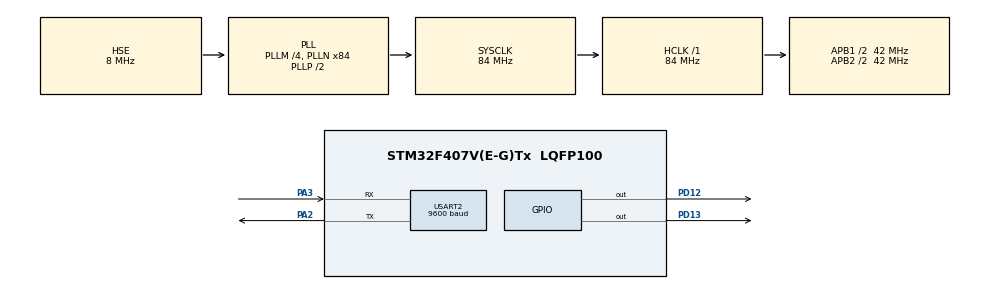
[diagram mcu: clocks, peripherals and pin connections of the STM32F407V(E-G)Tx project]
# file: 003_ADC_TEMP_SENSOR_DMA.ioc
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ADC1.Channel-3\#ChannelRegularConversion=ADC_CHANNEL_TEMPSENSOR
ADC1.Channel-4\#ChannelRegularConversion=ADC_CHANNEL_TEMPSENSOR
ADC1.Channel-5\#ChannelRegularConversion=ADC_CHANNEL_TEMPSENSOR
ADC1.ClockPrescaler=ADC_CLOCK_SYNC_PCLK_DIV8
ADC1.ContinuousConvMode=ENABLE
ADC1.DMAContinuousRequests=ENABLE
ADC1.EOCSelection=ADC_EOC_SINGLE_CONV
ADC1.InjNumberOfConversion=0
ADC1.NbrOfConversion=3
ADC1.NbrOfConversionFlag=1
ADC1.Rank-3\#ChannelRegularConversion=1
ADC1.Rank-4\#ChannelRegularConversion=2
ADC1.Rank-5\#ChannelRegularConversion=3
ADC1.SamplingTime-3\#ChannelRegularConversion=ADC_SAMPLETIME_480CYCLES
ADC1.SamplingTime-4\#ChannelRegularConversion=ADC_SAMPLETIME_480CYCLES
ADC1.SamplingTime-5\#ChannelRegularConversion=ADC_SAMPLETIME_480CYCLES
ADC1.ScanConvMode=ENABLE
ADC1.master=1
Dma.ADC1.0.Direction=DMA_PERIPH_TO_MEMORY
Dma.ADC1.0.FIFOMode=DMA_FIFOMODE_DISABLE
Dma.ADC1.0.Instance=DMA2_Stream0
Dma.ADC1.0.MemDataAlignment=DMA_MDATAALIGN_HALFWORD
Dma.ADC1.0.MemInc=DMA_MINC_ENABLE
Dma.ADC1.0.Mode=DMA_CIRCULAR
Dma.ADC1.0.PeriphDataAlignment=DMA_PDATAALIGN_HALFWORD
Dma.ADC1.0.PeriphInc=DMA_PINC_DISABLE
Dma.ADC1.0.Priority=DMA_PRIORITY_LOW
Dma.Request0=ADC1
Mcu.Family=STM32F4
Mcu.Name=STM32F407V(E-G)Tx
Mcu.Package=LQFP100
NVIC.DMA2_Stream0_IRQn=true\:0\:0\:false\:false\:true\:false\:true\:true
NVIC.PriorityGroup=NVIC_PRIORITYGROUP_0
PA2.Mode=Asynchronous
PA2.Signal=USART2_TX
PA3.Mode=Asynchronous
PA3.Signal=USART2_RX
PD12.Signal=GPIO_Output
PD13.Signal=GPIO_Output
PH0-OSC_IN.Mode=HSE-External-Oscillator
PH0-OSC_IN.Signal=RCC_OSC_IN
PH1-OSC_OUT.Mode=HSE-External-Oscillator
PH1-OSC_OUT.Signal=RCC_OSC_OUT
ProjectManager.HeapSize=0x200
ProjectManager.StackSize=0x400
ProjectManager.TargetToolchain=STM32CubeIDE
RCC.48MHZClocksFreq_Value=24000000
RCC.AHBFreq_Value=84000000
RCC.APB1CLKDivider=RCC_HCLK_DIV2
RCC.APB1Freq_Value=42000000
RCC.APB1TimFreq_Value=84000000
RCC.APB2CLKDivider=RCC_HCLK_DIV2
RCC.APB2Freq_Value=42000000
RCC.APB2TimFreq_Value=84000000
RCC.CortexFreq_Value=84000000
RCC.HCLKFreq_Value=84000000
RCC.HSE_VALUE=8000000
RCC.HSI_VALUE=16000000
RCC.LSE_VALUE=32768
RCC.PLLM=4
RCC.PLLN=84
RCC.PLLQ=7
RCC.PLLSourceVirtual=RCC_PLLSOURCE_HSE
RCC.SYSCLKFreq_VALUE=84000000
RCC.SYSCLKSource=RCC_SYSCLKSOURCE_PLLCLK
RCC.VCOOutputFreq_Value=168000000
USART2.BaudRate=9600
USART2.VirtualMode=VM_ASYNC
VP_ADC1_TempSens_Input.Mode=IN-TempSens
board=STM32F407G-DISC1

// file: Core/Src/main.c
/* USER CODE BEGIN Header */
/**
  ******************************************************************************
  * @file           : main.c
  * @brief          : Main program body
  ******************************************************************************
  * @attention
  *
  * Copyright (c) 2021 STMicroelectronics.
  * All rights reserved.
  *
  * This software is licensed under terms that can be found in the LICENSE file
  * in the root directory of this software component.
  * If no LICENSE file comes with this software, it is provided AS-IS.
  *
  ******************************************************************************
  */
/* USER CODE END Header */
#include "main.h"

/* USER CODE BEGIN Includes */
#include <stdio.h>
#include <string.h>
#include <stdlib.h>
/* USER CODE END Includes */

ADC_HandleTypeDef hadc1;
DMA_HandleTypeDef hdma_adc1;

UART_HandleTypeDef huart2;

/* USER CODE BEGIN PV */
volatile uint8_t convCompleted = 0;
uint16_t rawValues;
/* USER CODE END PV */

void SystemClock_Config(void);
static void MX_GPIO_Init(void);
static void MX_ADC1_Init(void);
static void MX_DMA_Init(void);
static void MX_USART2_UART_Init(void);

int main(void)
{
  /* USER CODE BEGIN 1 */
	char msg[35];
	uint16_t rawValues[3];
	float temp;
  /* USER CODE END 1 */

  /* MCU Configuration--------------------------------------------------------*/

  /* Reset of all peripherals, Initializes the Flash interface and the Systick. */
  HAL_Init();

  /* Configure the system clock */
  SystemClock_Config();

  /* Initialize all configured peripherals */
  MX_GPIO_Init();
  MX_ADC1_Init();
  MX_DMA_Init();
  MX_USART2_UART_Init();
  /* USER CODE BEGIN 2 */
  HAL_ADC_Start_DMA(&hadc1, (uint32_t*)rawValues, 3);

  /* USER CODE END 2 */

  /* Infinite loop */
  while (1)
  {

    /* USER CODE BEGIN 3 */
	while(!convCompleted);
		for(uint8_t i = 0; i < hadc1.Init.NbrOfConversion; i++) {
	    	   temp = (((float)rawValues[i]) / 4095) * 3000;
	    	   temp = ((temp - 760.0) / 2.5) + 25;

	    	   sprintf(msg, "rawValue %d: %hu\r\n", i, rawValues[i]);
	    	   HAL_UART_Transmit(&huart2, (uint8_t*) msg, strlen(msg), HAL_MAX_DELAY);

	    	   sprintf(msg, "Temperature %d: %.3f\r\n",i,  temp);
	    	   HAL_UART_Transmit(&huart2, (uint8_t*) msg, strlen(msg), HAL_MAX_DELAY);
	    	   convCompleted = 0;
	       }

  }
  /* USER CODE END 3 */
}

void SystemClock_Config(void)
{
  RCC_OscInitTypeDef RCC_OscInitStruct = {0};
  RCC_ClkInitTypeDef RCC_ClkInitStruct = {0};

  /** Configure the main internal regulator output voltage
  */
  __HAL_RCC_PWR_CLK_ENABLE();
  __HAL_PWR_VOLTAGESCALING_CONFIG(PWR_REGULATOR_VOLTAGE_SCALE1);
  /** Initializes the RCC Oscillators according to the specified parameters
  * in the RCC_OscInitTypeDef structure.
  */
  RCC_OscInitStruct.OscillatorType = RCC_OSCILLATORTYPE_HSE;
  RCC_OscInitStruct.HSEState = RCC_HSE_ON;
  RCC_OscInitStruct.PLL.PLLState = RCC_PLL_ON;
  RCC_OscInitStruct.PLL.PLLSource = RCC_PLLSOURCE_HSE;
  RCC_OscInitStruct.PLL.PLLM = 4;
  RCC_OscInitStruct.PLL.PLLN = 84;
  RCC_OscInitStruct.PLL.PLLP = RCC_PLLP_DIV2;
  RCC_OscInitStruct.PLL.PLLQ = 7;
  if (HAL_RCC_OscConfig(&RCC_OscInitStruct) != HAL_OK)
  {
    Error_Handler();
  }
  /** Initializes the CPU, AHB and APB buses clocks
  */
  RCC_ClkInitStruct.ClockType = RCC_CLOCKTYPE_HCLK|RCC_CLOCKTYPE_SYSCLK
                              |RCC_CLOCKTYPE_PCLK1|RCC_CLOCKTYPE_PCLK2;
  RCC_ClkInitStruct.SYSCLKSource = RCC_SYSCLKSOURCE_PLLCLK;
  RCC_ClkInitStruct.AHBCLKDivider = RCC_SYSCLK_DIV1;
  RCC_ClkInitStruct.APB1CLKDivider = RCC_HCLK_DIV2;
  RCC_ClkInitStruct.APB2CLKDivider = RCC_HCLK_DIV2;

  if (HAL_RCC_ClockConfig(&RCC_ClkInitStruct, FLASH_LATENCY_2) != HAL_OK)
  {
    Error_Handler();
  }
}

static void MX_ADC1_Init(void)
{

  ADC_ChannelConfTypeDef sConfig = {0};

  /** Configure the global features of the ADC (Clock, Resolution, Data Alignment and number of conversion)
  */
  hadc1.Instance = ADC1;
  hadc1.Init.ClockPrescaler = ADC_CLOCK_SYNC_PCLK_DIV8;
  hadc1.Init.Resolution = ADC_RESOLUTION_12B;
  hadc1.Init.ScanConvMode = ENABLE;
  hadc1.Init.ContinuousConvMode = ENABLE;
  hadc1.Init.DiscontinuousConvMode = DISABLE;
  hadc1.Init.ExternalTrigConvEdge = ADC_EXTERNALTRIGCONVEDGE_NONE;
  hadc1.Init.ExternalTrigConv = ADC_SOFTWARE_START;
  hadc1.Init.DataAlign = ADC_DATAALIGN_RIGHT;
  hadc1.Init.NbrOfConversion = 3;
  hadc1.Init.DMAContinuousRequests = ENABLE;
  hadc1.Init.EOCSelection = ADC_EOC_SINGLE_CONV;
  if (HAL_ADC_Init(&hadc1) != HAL_OK)
  {
    Error_Handler();
  }
  /** Configure for the selected ADC regular channel its corresponding rank in the sequencer and its sample time.
  */
  sConfig.Channel = ADC_CHANNEL_TEMPSENSOR;
  sConfig.Rank = 1;
  sConfig.SamplingTime = ADC_SAMPLETIME_480CYCLES;
  if (HAL_ADC_ConfigChannel(&hadc1, &sConfig) != HAL_OK)
  {
    Error_Handler();
  }
  /** Configure for the selected ADC regular channel its corresponding rank in the sequencer and its sample time.
  */
  sConfig.Rank = 2;
  if (HAL_ADC_ConfigChannel(&hadc1, &sConfig) != HAL_OK)
  {
    Error_Handler();
  }
  /** Configure for the selected ADC regular channel its corresponding rank in the sequencer and its sample time.
  */
  sConfig.Rank = 3;
  if (HAL_ADC_ConfigChannel(&hadc1, &sConfig) != HAL_OK)
  {
    Error_Handler();
  }

}

static void MX_USART2_UART_Init(void)
{

  huart2.Instance = USART2;
  huart2.Init.BaudRate = 9600;
  huart2.Init.WordLength = UART_WORDLENGTH_8B;
  huart2.Init.StopBits = UART_STOPBITS_1;
  huart2.Init.Parity = UART_PARITY_NONE;
  huart2.Init.Mode = UART_MODE_TX_RX;
  huart2.Init.HwFlowCtl = UART_HWCONTROL_NONE;
  huart2.Init.OverSampling = UART_OVERSAMPLING_16;
  if (HAL_UART_Init(&huart2) != HAL_OK)
  {
    Error_Handler();
  }

}

static void MX_DMA_Init(void)
{

  /* DMA controller clock enable */
  __HAL_RCC_DMA2_CLK_ENABLE();

  /* DMA interrupt init */
  /* DMA2_Stream0_IRQn interrupt configuration */
  HAL_NVIC_SetPriority(DMA2_Stream0_IRQn, 0, 0);
  HAL_NVIC_EnableIRQ(DMA2_Stream0_IRQn);

}

static void MX_GPIO_Init(void)
{
  GPIO_InitTypeDef GPIO_InitStruct = {0};

  /* GPIO Ports Clock Enable */
  __HAL_RCC_GPIOH_CLK_ENABLE();
  __HAL_RCC_GPIOA_CLK_ENABLE();
  __HAL_RCC_GPIOD_CLK_ENABLE();

  /*Configure GPIO pin Output Level */
  HAL_GPIO_WritePin(GPIOD, GPIO_PIN_12|GPIO_PIN_13, GPIO_PIN_RESET);

  /*Configure GPIO pins : PD12 PD13 */
  GPIO_InitStruct.Pin = GPIO_PIN_12|GPIO_PIN_13;
  GPIO_InitStruct.Mode = GPIO_MODE_OUTPUT_PP;
  GPIO_InitStruct.Pull = GPIO_NOPULL;
  GPIO_InitStruct.Speed = GPIO_SPEED_FREQ_LOW;
  HAL_GPIO_Init(GPIOD, &GPIO_InitStruct);

}

/* USER CODE BEGIN 4 */
void HAL_ADC_ConvCpltCallback(ADC_HandleTypeDef* hadc) {
  convCompleted = 1;
}

void HAL_ADC_ErrorCallback(ADC_HandleTypeDef *hadc) {
  HAL_GPIO_TogglePin(GPIOD, GPIO_PIN_13);
}
/* USER CODE END 4 */

void Error_Handler(void)
{
  __disable_irq();
  while (1)
  {
  }
}
